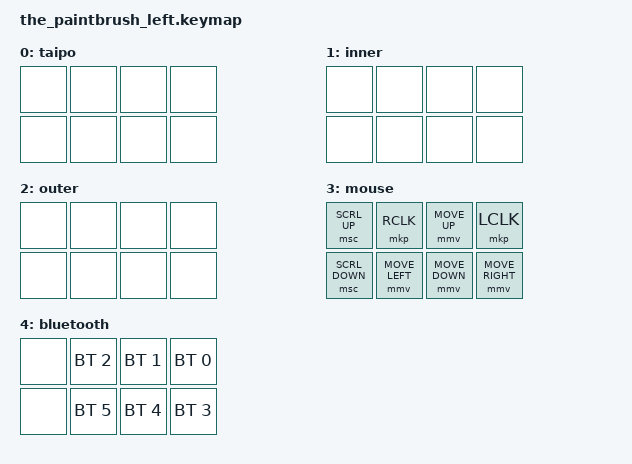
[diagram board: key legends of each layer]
/*
 * Copyright (c) 2021 Mike "KemoNine" Crosson
 *
 * SPDX-License-Identifier: MIT
 */

#include <behaviors.dtsi>
#include <dt-bindings/zmk/keys.h>
#include <dt-bindings/zmk/bt.h>
#include <zmk-helpers/helper.h>

/* 8 KEY MATRIX / LAYOUT MAPPING

  ╭─────────────────╮
  │  0   1   2   3  │
  │  4   5   6   7  │
  ╰─────────────────╯
  ╭─────────────────╮
  │ LT4 LT3 LT2 LT1 │
  │ LM4 LM3 LM2 LM1 │
  ╰─────────────────╯
*/

// ARTS Row (top row)
#undef LT1
#undef LT2
#undef LT3
#undef LT4
#define LT1 3
#define LT2 2
#define LT3 1
#define LT4 0
// EYIO Row (bottom row)
#undef LM1
#undef LM2
#undef LM3
#undef LM4
#define LM1 7
#define LM2 6
#define LM3 5
#define LM4 4

#define TAIPO 0
#define TAIPO_INNER 1
#define TAIPO_OUTER 2
#define TAIPO_ONLY_LEFT_HAND 1
#define TAIPO_NO_THUMBS 1
#define TAIPO_MODS_SCAG 1
#include <zmk-taipo/taipo.dtsi>
#include <zmk-taipo/features/virtual_thumbs.dtsi>

#include "../../../mouse.dtsi"

#define MOUSE 3
#define BLUETOOTH 4

// Base TAIPO layer - the 8 base keys
ZMK_LAYER(taipo,
  &none &none &none &none
  &none &none &none &none
)
ZMK_COMBO(tog_mouse, &tog MOUSE, LT1 LM2 LT3, TAIPO MOUSE, COMBO_TERM_FAST)
ZMK_COMBO(tog_bluetooth, &tog BLUETOOTH, LT1 LM2 LM3 LT4, TAIPO BLUETOOTH, COMBO_TERM_FAST)

ZMK_LAYER(inner,
  &none &none &none &none
  &none &none &none &none
)

ZMK_LAYER(outer,
  &none &none &none &none
  &none &none &none &none
)

ZMK_LAYER(mouse,
  &msc SCRL_UP   &mkp RCLK      &mmv MOVE_UP   &mkp LCLK
  &msc SCRL_DOWN &mmv MOVE_LEFT &mmv MOVE_DOWN &mmv MOVE_RIGHT
)
ZMK_COMBO(scroll_left , &msc SCRL_LEFT , LT3 LT4, MOUSE, COMBO_TERM_FAST)
ZMK_COMBO(right_click , &msc SCRL_RIGHT, LM3 LM4, MOUSE, COMBO_TERM_FAST)
ZMK_COMBO(middle_click, &mkp MCLK      , LT1 LT3, MOUSE, COMBO_TERM_FAST)

ZMK_LAYER(bluetooth,
  &none      &bt BT_SEL 2 &bt BT_SEL 1 &bt BT_SEL 0
  &none      &bt BT_SEL 5 &bt BT_SEL 4 &bt BT_SEL 3
)
ZMK_COMBO(clear_bt, &bt BT_CLR, LT4 LM4, BLUETOOTH, COMBO_TERM_FAST)
